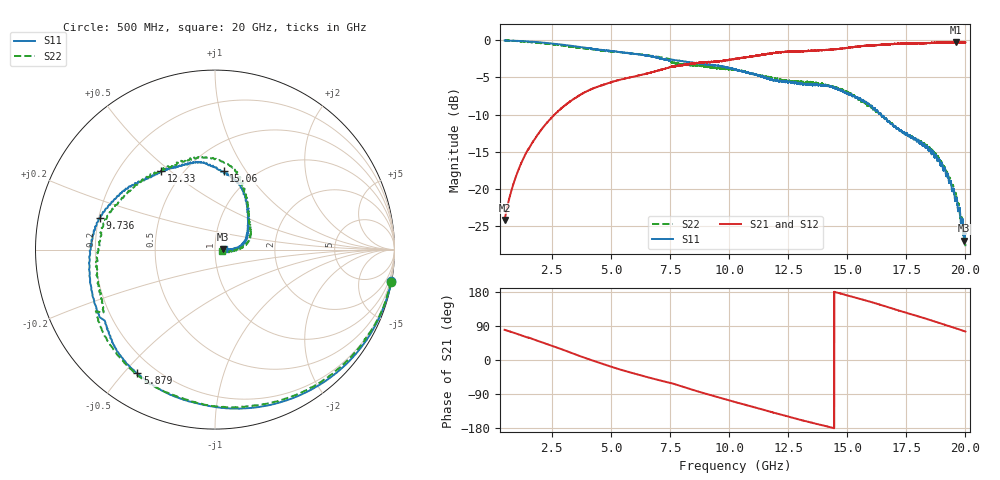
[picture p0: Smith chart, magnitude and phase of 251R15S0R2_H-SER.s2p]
!{251R15S0R2}
!Johanson Technology Inc.
!www.johansontechnology.com
!Test Board Conditions:
!Substrate Type  RO4350B
!Substrate Thickness  20 mil
!Substrate Dk  3.66
!TL Type: GCPW
!TL Trace Width  34 mil
!TL Gap  10 mil
!Electrode orientation  Horizontal
!DUT TOPOLOGY	SERIES
!Mounting Pad LxW  26x52 mil
! Created Thu Mar 12 16:24:52 2020
# mhz S ma R 50
! 2 Port Network Data from SP1.SP block
! freq  magS11  angS11  magS21  angS21  magS12  angS12  magS22  angS22
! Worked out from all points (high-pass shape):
!   19501 points, 500 MHz to 20 GHz, reference 50 ohm
!   highest |S21| = -0.25 dB at 19.6 GHz (marker M1); lowest = -24.2 dB at 500 MHz (marker M2)
!   |S21| within 3 dB of the highest: 8.213 GHz to 8.297 GHz (83.82 MHz wide, 1.02 % of centre); 8.297 GHz to end of sweep (the widest 2 of 4)
!   lowest |S11| = -27.0 dB at 19.95 GHz (marker M3), VSWR 1.09, Z = 54.7 + j0.212 ohm
!   |S11| at or under -10 dB: 16.43267 GHz to 16.4331 GHz (433.3 kHz wide, 0.00264 % of centre); 16.43 GHz to end of sweep
!   |S22| runs from -27.7 to 0.0 dB; largest |S21 - S12| = 0.019
!   S11 on the Smith chart (normalised r, x): 500 MHz: 0, -11; 5.879 GHz: 0.13, -0.55; 9.736 GHz: 0.21, +0.13; 12.33 GHz: 0.38, +0.47; 15.06 GHz: 0.74, +0.80; 20 GHz: 1.10, +0.01
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500  0.9981 -10.3  0.06153 79.6  0.06167 79.8  0.9963 -10.3
1036  0.9908 -21.2  0.1279 68.7  0.1281 68.7  0.9892 -21.4
1691  0.9782 -35.0  0.2063 55.2  0.2071 55.3  0.9695 -35.0
2753  0.9427 -57.6  0.3318 31.9  0.3321 31.8  0.9324 -58.1
3750  0.8992 -79.8  0.4339 8.9  0.4339 9.0  0.8879 -81.2
4772  0.8553 -101.3  0.5079 -12.8  0.5084 -12.8  0.8467 -103.0
5879  0.8129 -122.1  0.5662 -33.9  0.5663 -33.8  0.8183 -123.9
7000  0.7641 -139.5  0.6258 -52.7  0.6264 -52.6  0.7746 -144.3
8327  0.7105 -169.1  0.6926 -76.1  0.695 -75.9  0.6796 -160.8
9736  0.6645 164.6  0.7281 -101.9  0.7342 -102.0  0.6417 175.1
10250  0.6348 156.3  0.7523 -111.0  0.7511 -111.2  0.6332 165.6
11334  0.5717 139.9  0.7951 -129.3  0.7995 -129.4  0.5772 145.7
12328  0.53 124.2  0.8338 -146.2  0.8343 -146.9  0.536 125.1
13500  0.5001 108.6  0.8512 -165.5  0.8447 -165.7  0.5167 99.3
15057  0.4384 83.7  0.8942 169.5  0.8852 169.8  0.4442 74.3
16750  0.2841 48.5  0.9431 138.9  0.9412 139.3  0.2856 49.2
17803  0.2163 33.1  0.9547 118.9  0.9581 119.1  0.2197 25.9
18657  0.1748 16.0  0.9631 102.5  0.9656 101.9  0.1763 10.4
19190  0.1215 3.9  0.9635 91.7  0.9623 91.6  0.1299 -0.6
19596  0.08354 -6.5  0.9717 83.7  0.9611 83.5  0.0925 -6.7
19949  0.04458 2.5  0.9675 76.4  0.9669 76.2  0.04973 -20.7
20000  0.04954 6.4  0.9668 75.2  0.9642 74.9  0.04103 -11.8
